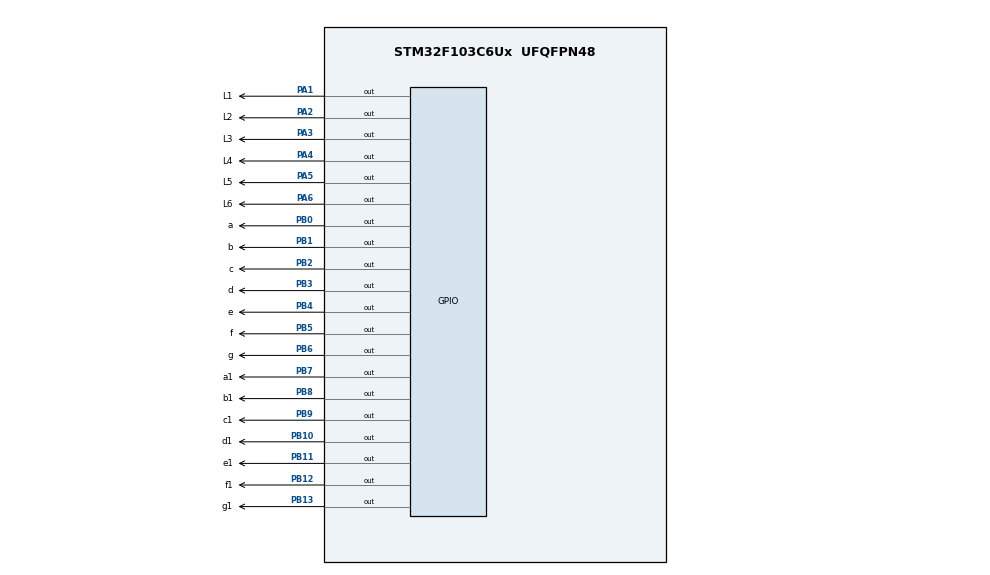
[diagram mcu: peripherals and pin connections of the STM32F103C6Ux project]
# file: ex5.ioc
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Mcu.Family=STM32F1
Mcu.Name=STM32F103C6Ux
Mcu.Package=UFQFPN48
NVIC.PriorityGroup=NVIC_PRIORITYGROUP_4
PA1.GPIO_Label=L1
PA1.Signal=GPIO_Output
PA2.GPIO_Label=L2
PA2.Signal=GPIO_Output
PA3.GPIO_Label=L3
PA3.Signal=GPIO_Output
PA4.GPIO_Label=L4
PA4.Signal=GPIO_Output
PA5.GPIO_Label=L5
PA5.Signal=GPIO_Output
PA6.GPIO_Label=L6
PA6.Signal=GPIO_Output
PB0.GPIO_Label=a
PB0.Signal=GPIO_Output
PB1.GPIO_Label=b
PB1.Signal=GPIO_Output
PB10.GPIO_Label=d1
PB10.Signal=GPIO_Output
PB11.GPIO_Label=e1
PB11.Signal=GPIO_Output
PB12.GPIO_Label=f1
PB12.Signal=GPIO_Output
PB13.GPIO_Label=g1
PB13.Signal=GPIO_Output
PB2.GPIO_Label=c
PB2.Signal=GPIO_Output
PB3.GPIO_Label=d
PB3.Signal=GPIO_Output
PB4.GPIO_Label=e
PB4.Signal=GPIO_Output
PB5.GPIO_Label=f
PB5.Signal=GPIO_Output
PB6.GPIO_Label=g
PB6.Signal=GPIO_Output
PB7.GPIO_Label=a1
PB7.Signal=GPIO_Output
PB8.GPIO_Label=b1
PB8.Signal=GPIO_Output
PB9.GPIO_Label=c1
PB9.Signal=GPIO_Output
ProjectManager.HeapSize=0x200
ProjectManager.StackSize=0x400
ProjectManager.TargetToolchain=STM32CubeIDE
RCC.APB1Freq_Value=8000000
RCC.APB2Freq_Value=8000000
VP_SYS_VS_ND.Mode=No_Debug
board=custom

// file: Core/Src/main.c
/* USER CODE BEGIN Header */
/**
  ******************************************************************************
  * @file           : main.c
  * @brief          : Main program body
  ******************************************************************************
  * @attention
  *
  * <h2><center>&copy; Copyright (c) 2025 STMicroelectronics.
  * All rights reserved.</center></h2>
  *
  * This software component is licensed by ST under BSD 3-Clause license,
  * the "License"; You may not use this file except in compliance with the
  * License. You may obtain a copy of the License at:
  *                        opensource.org/licenses/BSD-3-Clause
  *
  ******************************************************************************
  */
/* USER CODE END Header */
#include "main.h"

void SystemClock_Config(void);
static void MX_GPIO_Init(void);

/* USER CODE BEGIN 0 */
void display7SEG(int num, uint32_t GPIO_Pin)
{
  char segNumber[10] = {
    0xC0, //0
    0xF9, //1
    0xA4, //2
    0xB0, //3
    0x99, //4
    0x92, //5
    0x82, //6
    0xF8, //7
    0x80, //8
    0x90  //9
  };

  for (int i = 0; i < 7; i++)
  {
    HAL_GPIO_WritePin(GPIOB, GPIO_Pin << i, ((segNumber[num] >> i) & 1 ));
  }
}
/* USER CODE END 0 */

int main(void)
{

  /* MCU Configuration--------------------------------------------------------*/

  /* Reset of all peripherals, Initializes the Flash interface and the Systick. */
  HAL_Init();

  /* Configure the system clock */
  SystemClock_Config();

  /* Initialize all configured peripherals */
  MX_GPIO_Init();

  /* Infinite loop */
  /* USER CODE BEGIN WHILE */
  int countRed    = 5;
  int countYellow = 2;
  int countGreen  = 3;
  int isCross     = 1;
  while (1)
  {
	  if (isCross == 1)
	      {
	        if (countRed > 0)
	        {
	        display7SEG(countRed, GPIO_PIN_7);
	        if(countRed>=3){
	          HAL_GPIO_WritePin(GPIOA, GPIO_PIN_1, RESET);
	          HAL_GPIO_WritePin(GPIOA, GPIO_PIN_2, SET);
	          HAL_GPIO_WritePin(GPIOA, GPIO_PIN_3, SET);

	          HAL_GPIO_WritePin(GPIOA, GPIO_PIN_4, SET);
	          HAL_GPIO_WritePin(GPIOA, GPIO_PIN_5, SET);
	          HAL_GPIO_WritePin(GPIOA, GPIO_PIN_6, RESET);

	          display7SEG(countGreen, GPIO_PIN_0);
	          countGreen--;
	        }
	        if (countRed < 3 && countRed >= 1)
	        {
	          HAL_GPIO_WritePin(GPIOA, GPIO_PIN_1, RESET);
	          HAL_GPIO_WritePin(GPIOA, GPIO_PIN_2, SET);
	          HAL_GPIO_WritePin(GPIOA, GPIO_PIN_3, SET);

	          HAL_GPIO_WritePin(GPIOA, GPIO_PIN_4, SET);
	          HAL_GPIO_WritePin(GPIOA, GPIO_PIN_5, RESET);
	          HAL_GPIO_WritePin(GPIOA, GPIO_PIN_6, SET);

	          display7SEG(countYellow, GPIO_PIN_0);
	          countYellow--;
	        }
	        countRed--;
	      }
	      if(countYellow == 0) countYellow = 2;
	      if(countGreen == 0) countGreen = 3;
	      if(countRed == 0){
	    	  countRed += 5;
	    	  isCross = 2;
	      }
	      }
	      else // Hướng 2 chạy, Hướng 1 dừng
	      {
	        if (countRed > 0)
	        {
	        	display7SEG(countRed, GPIO_PIN_0);
	        	if(countRed>=3){
	          HAL_GPIO_WritePin(GPIOA, GPIO_PIN_4, RESET);
	          HAL_GPIO_WritePin(GPIOA, GPIO_PIN_5, SET);
	          HAL_GPIO_WritePin(GPIOA, GPIO_PIN_6, SET);

	          HAL_GPIO_WritePin(GPIOA, GPIO_PIN_1, SET);
	          HAL_GPIO_WritePin(GPIOA, GPIO_PIN_2, SET);
	          HAL_GPIO_WritePin(GPIOA, GPIO_PIN_3, RESET);

	          display7SEG(countGreen, GPIO_PIN_7);
	          countGreen--;
	        }
	        if (countRed < 3 && countRed >= 1)
	        {
	          HAL_GPIO_WritePin(GPIOA, GPIO_PIN_4, RESET);
	          HAL_GPIO_WritePin(GPIOA, GPIO_PIN_5, SET);
	          HAL_GPIO_WritePin(GPIOA, GPIO_PIN_6, SET);

	          HAL_GPIO_WritePin(GPIOA, GPIO_PIN_1, SET);
	          HAL_GPIO_WritePin(GPIOA, GPIO_PIN_2, RESET);
	          HAL_GPIO_WritePin(GPIOA, GPIO_PIN_3, SET);

	          display7SEG(countYellow, GPIO_PIN_7);
	          countYellow--;
	        }
	        countRed--;
	      }

	      if (countYellow == 0) countYellow = 2;
	      if (countGreen == 0)  countGreen  = 3;
	      if (countRed == 0)
	      {
	        countRed = 5;
	        isCross = 1; // đổi hướng
	      }
	      }
	      HAL_Delay(1000);

    /* USER CODE END WHILE */

  }
}

void SystemClock_Config(void)
{
  RCC_OscInitTypeDef RCC_OscInitStruct = {0};
  RCC_ClkInitTypeDef RCC_ClkInitStruct = {0};

  /** Initializes the RCC Oscillators according to the specified parameters
  * in the RCC_OscInitTypeDef structure.
  */
  RCC_OscInitStruct.OscillatorType = RCC_OSCILLATORTYPE_HSI;
  RCC_OscInitStruct.HSIState = RCC_HSI_ON;
  RCC_OscInitStruct.HSICalibrationValue = RCC_HSICALIBRATION_DEFAULT;
  RCC_OscInitStruct.PLL.PLLState = RCC_PLL_NONE;
  if (HAL_RCC_OscConfig(&RCC_OscInitStruct) != HAL_OK)
  {
    Error_Handler();
  }
  /** Initializes the CPU, AHB and APB buses clocks
  */
  RCC_ClkInitStruct.ClockType = RCC_CLOCKTYPE_HCLK|RCC_CLOCKTYPE_SYSCLK
                              |RCC_CLOCKTYPE_PCLK1|RCC_CLOCKTYPE_PCLK2;
  RCC_ClkInitStruct.SYSCLKSource = RCC_SYSCLKSOURCE_HSI;
  RCC_ClkInitStruct.AHBCLKDivider = RCC_SYSCLK_DIV1;
  RCC_ClkInitStruct.APB1CLKDivider = RCC_HCLK_DIV1;
  RCC_ClkInitStruct.APB2CLKDivider = RCC_HCLK_DIV1;

  if (HAL_RCC_ClockConfig(&RCC_ClkInitStruct, FLASH_LATENCY_0) != HAL_OK)
  {
    Error_Handler();
  }
}

static void MX_GPIO_Init(void)
{
  GPIO_InitTypeDef GPIO_InitStruct = {0};

  /* GPIO Ports Clock Enable */
  __HAL_RCC_GPIOA_CLK_ENABLE();
  __HAL_RCC_GPIOB_CLK_ENABLE();

  /*Configure GPIO pin Output Level */
  HAL_GPIO_WritePin(GPIOA, L1_Pin|L2_Pin|L3_Pin|L4_Pin
                          |L5_Pin|L6_Pin, GPIO_PIN_RESET);

  /*Configure GPIO pin Output Level */
  HAL_GPIO_WritePin(GPIOB, a_Pin|b_Pin|c_Pin|d1_Pin
                          |e1_Pin|f1_Pin|g1_Pin|d_Pin
                          |e_Pin|f_Pin|g_Pin|a1_Pin
                          |b1_Pin|c1_Pin, GPIO_PIN_RESET);

  /*Configure GPIO pins : L1_Pin L2_Pin L3_Pin L4_Pin
                           L5_Pin L6_Pin */
  GPIO_InitStruct.Pin = L1_Pin|L2_Pin|L3_Pin|L4_Pin
                          |L5_Pin|L6_Pin;
  GPIO_InitStruct.Mode = GPIO_MODE_OUTPUT_PP;
  GPIO_InitStruct.Pull = GPIO_NOPULL;
  GPIO_InitStruct.Speed = GPIO_SPEED_FREQ_LOW;
  HAL_GPIO_Init(GPIOA, &GPIO_InitStruct);

  /*Configure GPIO pins : a_Pin b_Pin c_Pin d1_Pin
                           e1_Pin f1_Pin g1_Pin d_Pin
                           e_Pin f_Pin g_Pin a1_Pin
                           b1_Pin c1_Pin */
  GPIO_InitStruct.Pin = a_Pin|b_Pin|c_Pin|d1_Pin
                          |e1_Pin|f1_Pin|g1_Pin|d_Pin
                          |e_Pin|f_Pin|g_Pin|a1_Pin
                          |b1_Pin|c1_Pin;
  GPIO_InitStruct.Mode = GPIO_MODE_OUTPUT_PP;
  GPIO_InitStruct.Pull = GPIO_NOPULL;
  GPIO_InitStruct.Speed = GPIO_SPEED_FREQ_LOW;
  HAL_GPIO_Init(GPIOB, &GPIO_InitStruct);

}

void Error_Handler(void)
{
  __disable_irq();
  while (1)
  {
  }
}

/************************ (C) COPYRIGHT STMicroelectronics *****END OF FILE****/
